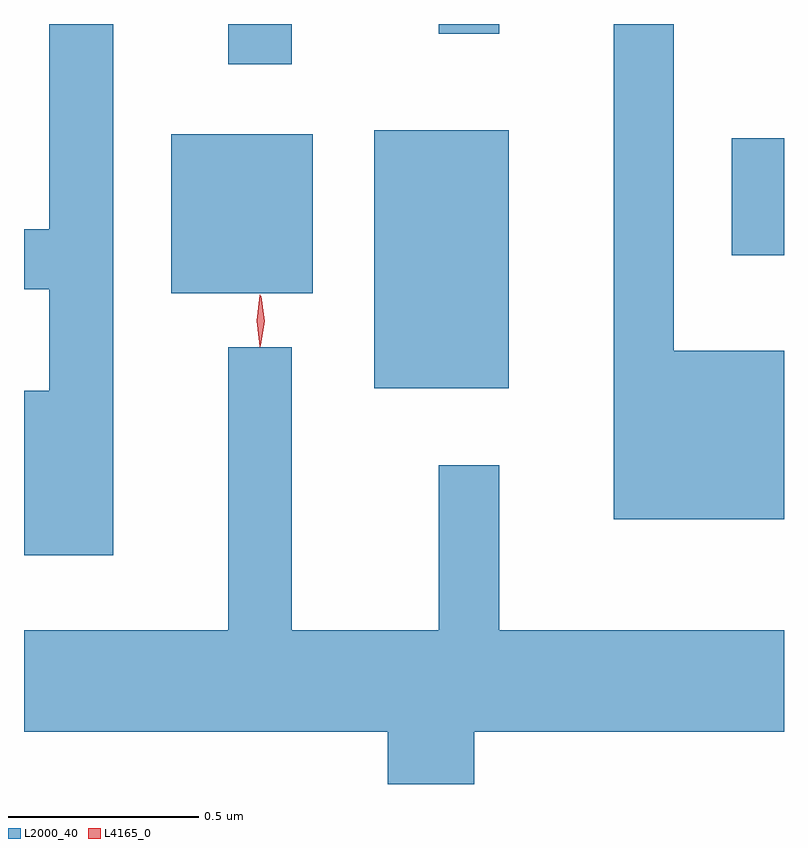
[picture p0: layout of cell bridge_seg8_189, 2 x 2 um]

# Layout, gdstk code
import gdstk
lib = gdstk.Library(unit=1e-6, precision=1e-09)
def R(c, l, rs):  # rectangles x0, y0, x1, y1
    for r in rs: c.add(gdstk.rectangle(r[:2], r[2:], *l))
def P(c, l, *ps):  # polygons
    for p in ps: c.add(gdstk.Polygon(p, *l))
L2000_40 = (2000, 40)
L4165_0 = (4165, 0)

bridge_seg8_189 = lib.new_cell('bridge_seg8_189')
R(bridge_seg8_189, L2000_40, [(1142.506,1901.701,1142.859,1902.379), (1141.971,1901.951,1142.344,1902.369), (1143.446,1902.051,1143.584,1902.359), (1142.121,1902.553,1142.289,1902.659), (1142.676,1902.633,1142.834,1902.659)])
P(bridge_seg8_189, L2000_40, [(1143.584,1901.799),(1143.294,1901.799),(1143.294,1902.659),(1143.136,1902.659),(1143.136,1901.356),(1143.584,1901.356)],
  [(1141.819,1902.659),(1141.651,1902.659),(1141.651,1902.119),(1141.584,1902.119),(1141.584,1901.961),(1141.651,1901.961),(1141.651,1901.694),(1141.584,1901.694),(1141.584,1901.261),(1141.819,1901.261)],
  [(1142.769,1900.796),(1143.584,1900.796),(1143.584,1901.064),(1142.834,1901.064),(1142.834,1901.498),(1142.676,1901.498),(1142.676,1901.064),(1142.289,1901.064),(1142.289,1901.808),(1142.121,1901.808),(1142.121,1901.064),(1141.584,1901.064),(1141.584,1900.796),(1142.541,1900.796),(1142.541,1900.659),(1142.769,1900.659)])
P(bridge_seg8_189, L4165_0, [(1142.206,1901.813),(1142.197,1901.877),(1142.207,1901.942),(1142.208,1901.942),(1142.208,1901.942),(1142.217,1901.877),(1142.207,1901.813),(1142.207,1901.813)],
  [(1142.205,1901.809),(1142.204,1901.81),(1142.196,1901.878),(1142.205,1901.946),(1142.206,1901.946),(1142.206,1901.946),(1142.215,1901.878),(1142.206,1901.81)])

lib.write_gds('bridge_seg8_189.gds')
